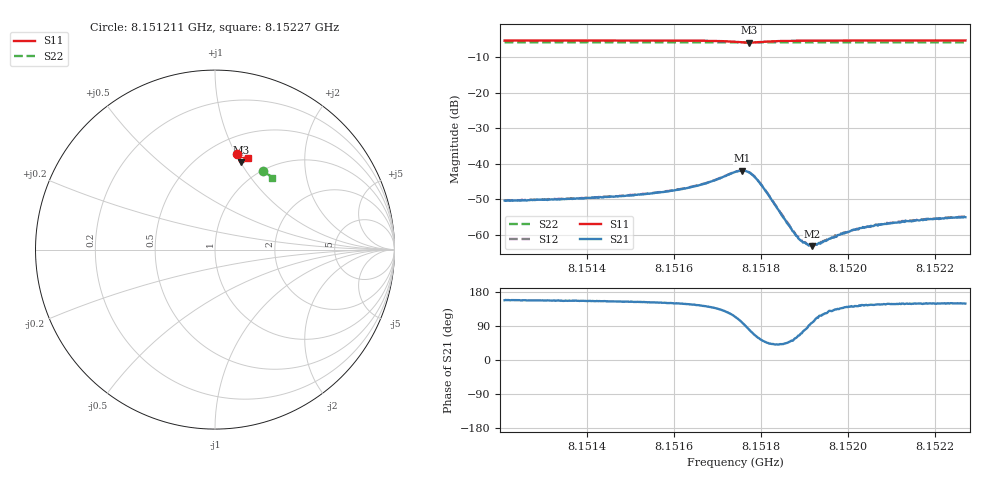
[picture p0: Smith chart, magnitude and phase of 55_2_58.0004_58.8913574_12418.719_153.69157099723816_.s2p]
#  HZ  S  RI  R  50.00
! Rohde & Schwarz Vector Network Analyzer
! Rohde-Schwarz,ZNB20-2Port,1311601062101988,3.16
! Created: UTC 3/21/2024, 12:52:45 AM
! freq[Hz]  re:S11  im:S11  re:S21  im:S21  re:S12  im:S12  re:S22  im:S22
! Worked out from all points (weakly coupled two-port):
!   401 points, 8.151211 GHz to 8.15227 GHz, reference 50 ohm
!   highest |S21| = -41.88 dB at 8.151756 GHz (marker M1); lowest = -63.1 dB at 8.151918 GHz (marker M2)
!   lowest |S11| = -5.9 dB at 8.151772 GHz (marker M3), VSWR 3.07, Z = 38.3 + j50.3 ohm
!   |S11| at or under -10 dB: nowhere
!   |S22| runs from -5.8 to -5.8 dB; largest |S21 - S12| = 0.00016
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8.1512114e9  0.1199 0.53  -0.00283 0.00116  -0.00284 0.00116  0.2648 0.4405
8.1513887e9  0.1333 0.5269  -0.00299 0.00133  -0.00302 0.0014  0.2745 0.4344
8.1515024e9  0.1426 0.5243  -0.00323 0.00158  -0.00325 0.00167  0.2806 0.4303
8.1515659e9  0.1484 0.5222  -0.00347 0.0019  -0.0035 0.00197  0.284 0.4279
8.1516559e9  0.1582 0.5165  -0.00405 0.00288  -0.00404 0.00293  0.2888 0.4242
8.1516903e9  0.1629 0.5117  -0.00432 0.00388  -0.00428 0.00394  0.2906 0.4228
8.1517405e9  0.1639 0.4945  -0.00316 0.00701  -0.00309 0.00712  0.2931 0.4204
8.1517564e9  0.1568 0.4879  -0.00129 0.00795  -0.00121 0.00801  0.2935 0.4197
8.1517723e9  0.1455 0.487  0.0012 0.00752  0.00131 0.00755  0.2938 0.4194
8.1517855e9  0.1378 0.4925  0.00266 0.00605  0.00276 0.00604  0.2942 0.4192
8.1517987e9  0.135 0.5002  0.00306 0.00429  0.00314 0.00432  0.295 0.4189
8.1518728e9  0.1479 0.5176  0.000717 0.000879  0.000709 0.000916  0.2994 0.4166
8.151886e9  0.1501 0.5181  0.000386 0.000806  0.000414 0.000835  0.3001 0.4161
8.1519019e9  0.1525 0.5184  0.000136 0.000763  0.00013 0.00078  0.301 0.4156
8.1519178e9  0.1546 0.5185  -0.000105 0.000689  -8.84e-05 0.000745  0.3017 0.4151
8.1519284e9  0.156 0.5187  -0.000269 0.000683  -0.000205 0.0007  0.3025 0.4146
8.1519575e9  0.1593 0.5183  -0.000573 0.000682  -0.00056 0.000697  0.304 0.4134
8.1520104e9  0.1647 0.5177  -0.000912 0.000744  -0.000907 0.000735  0.3068 0.4111
8.152058e9  0.1689 0.5168  -0.0011 0.000759  -0.00111 0.000773  0.3093 0.4093
8.1520951e9  0.1719 0.516  -0.00123 0.000773  -0.00124 0.000796  0.311 0.4078
8.1521877e9  0.1791 0.5141  -0.00144 0.000847  -0.00144 0.000897  0.3158 0.404
8.1522697e9  0.185 0.5123  -0.00153 0.000921  -0.00154 0.000935  0.3199 0.4007
